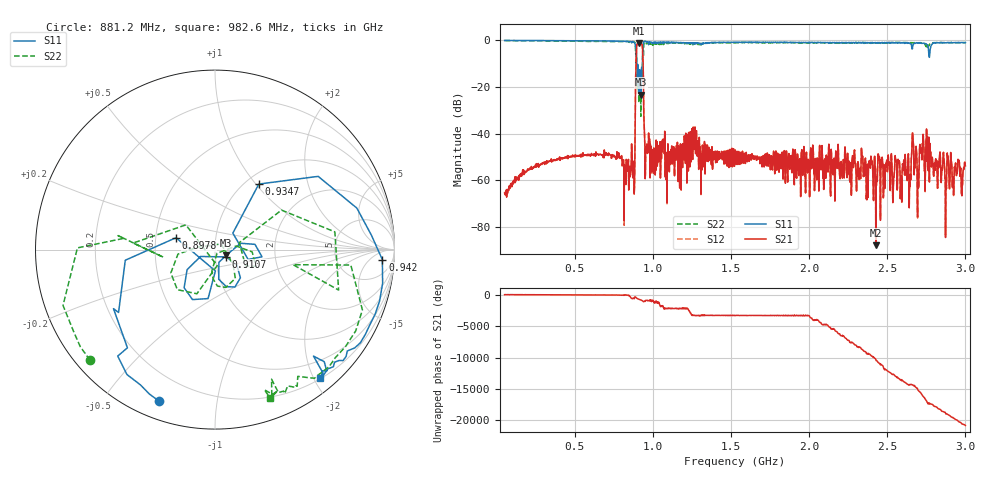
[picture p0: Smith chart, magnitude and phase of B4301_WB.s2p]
! Matrix data file written by TouchstoneData, EPCOS AG
! FILENAME: "PLI.LY35A_WB.snp"
! COMMENT: "(LY35A_6_WB.s2p) EPCOS AG 19.03.2010 16:51:4"
! INFO: nport=2, nfreq=1601
! DATE: "Mon Jul 12 09:51:43 2010"
! USER: "Michael Schemies"
! port | pin | signal
!  1  |  1  |  in
!  2  |  4  |  out
# MHZ S MA R 50
! freq  magS11 angS11  magS21 angS21  magS12 angS12  magS22 angS22
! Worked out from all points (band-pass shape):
!   1601 points, 51.5 MHz to 3.002 GHz, reference 50 ohm
!   highest |S21| = -1.11 dB at 912.5 MHz (marker M1); lowest = -87.9 dB at 2.428 GHz (marker M2)
!   |S21| within 3 dB of the highest: 895.8 MHz to 934.8 MHz (39.02 MHz wide, 4.26 % of centre)
!   lowest |S11| = -23.2 dB at 923.6 MHz (marker M3), VSWR 1.15, Z = 56.4 - j3.66 ohm
!   |S11| at or under -10 dB: 897 MHz to 934.1 MHz (37.13 MHz wide, 4.06 % of centre)
!   |S22| runs from -32.6 to 0.0 dB; largest |S21 - S12| = 0.0013
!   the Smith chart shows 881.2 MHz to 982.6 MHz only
!   S11 on the Smith chart (normalised r, x): 881.2 MHz: 0.08, -0.69; 897.8 MHz: 0.64, +0.09; 910.7 MHz: 1.13, -0.09; 934.7 MHz: 1.15, +1.04; 942 MHz: 17, -14; 982.6 MHz: 0.21, -2.08
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51.5  0.9975 -4.2  0.0005303 76.1  0.0005686 79.2  0.9956 -6.1
543.7812  0.9815 -44.9  0.003552 35.8  0.00353 35.8  0.9563 -62.1
831.4062  0.9514 -78.2  0.002741 19.4  0.002754 19.4  0.9499 -100.6
870.125  0.9247 -95.3  0.001663 163.5  0.001655 162.4  0.9436 -120.4
881.1875  0.899 -110.5  0.0005173 134.9  0.0005045 134.4  0.9296 -138.5
897.7812  0.2271 163.1  0.7871 -134.0  0.7866 -134.0  0.2129 139.7
910.6875  0.07502 -33.0  0.8631 68.3  0.8624 68.3  0.04637 42.9
912.5312  0.1505 -35.7  0.8796 49.1  0.8792 49.1  0.1275 -38.4
923.5938  0.06914 -27.8  0.8615 -49.3  0.8605 -49.2  0.02351 -61.1
934.6562  0.4393 56.2  0.6437 159.8  0.6431 159.9  0.4311 30.7
942.0312  0.9339 -3.4  0.03451 38.8  0.03451 38.8  0.7617 -6.5
956.7812  0.9285 -37.5  0.005286 -122.4  0.005297 -122.5  0.8813 -54.0
982.5938  0.9248 -50.9  0.001139 -14.2  0.001129 -12.7  0.8794 -69.6
1036.062  0.8902 -63.1  0.005524 142.7  0.005512 143.2  0.8479 -84.8
1526.5  0.9142 -92.8  0.004201 4.4  0.00419 4.7  0.8878 -112.2
2018.781  0.9093 -113.6  0.001909 -86.1  0.001892 -86.9  0.8819 -130.0
2428.094  0.8937 -126.6  4.044e-05 134.4  3.868e-05 127.0  0.8809 -139.1
2511.062  0.9044 -128.3  0.002297 -38.4  0.002301 -38.9  0.9046 -141.8
2638.281  0.8846 -134.5  0.002514 18.4  0.0025 18.2  0.8862 -144.7
2721.25  0.8607 -136.6  0.004821 -14.6  0.004818 -14.6  0.8809 -149.4
2887.188  0.8951 -134.0  0.003301 11.4  0.003292 11.3  0.8961 -146.7
3001.5  0.8979 -137.7  0.002042 33.8  0.002021 34.3  0.894 -149.4
